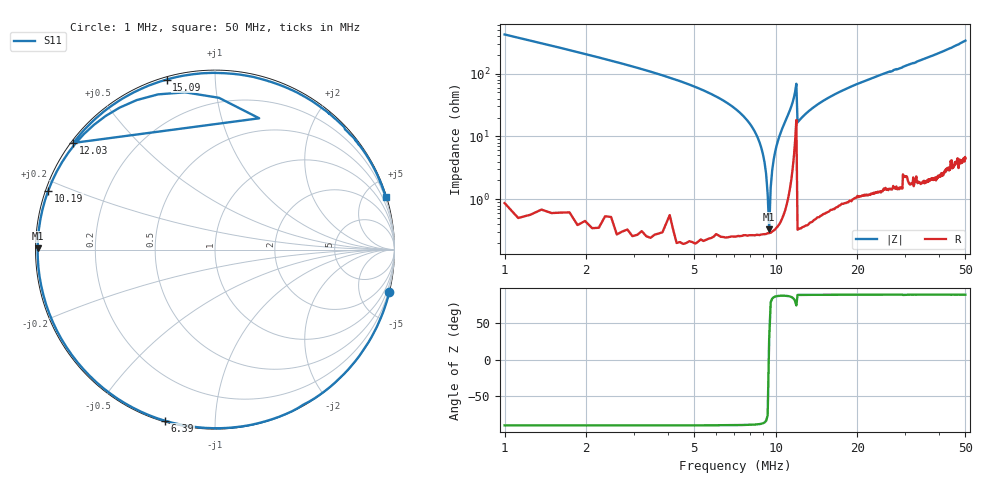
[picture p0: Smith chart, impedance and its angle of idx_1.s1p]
# HZ S RI R 50
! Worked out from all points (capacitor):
!   401 points, 1 MHz to 50 MHz, reference 50 ohm
!   read as one part to ground: C = 376 pF near 1.245 MHz
!   lowest |Z| = 335 mohm at 9.453 MHz (marker M1)
!   series resonance near 9.438 MHz, so ESL is about 760 nH
!   S11 on the Smith chart (normalised r, x): 1 MHz: 0.02, -8.35; 6.39 MHz: 0.01, -0.75; 10.19 MHz: 0.01, +0.17; 12.03 MHz: 0.01, +0.33; 15.09 MHz: 0.01, +0.75; 50 MHz: 0.09, +6.66
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1000000  0.9712 -0.2361
2347500  0.8384 -0.5419
3572500  0.614 -0.7866
4430000  0.393 -0.9167
5165000  0.161 -0.9834
5777500  -0.0545 -0.9934
6390000  -0.2787 -0.9536
7125000  -0.5417 -0.8311
8350000  -0.8801 -0.4531
8962500  -0.9675 -0.2052
9452500  -0.9884 0.00648
1.01875e7  -0.9289 0.3289
1.06775e7  -0.8171 0.54
1.1045e7  -0.675 0.6946
1.14125e7  -0.436 0.833
1.16575e7  -0.1668 0.8763
1.2025e7  -0.7895 0.5943
1.227e7  -0.75 0.643
1.325e7  -0.5805 0.7982
1.50875e7  -0.2698 0.9473
1.717e7  0.0195 0.9842
1.9375e7  0.2481 0.9532
2.21925e7  0.4518 0.8777
2.55e7  0.6098 0.7786
3.1625e7  0.7782 0.6156
3.775e7  0.8684 0.4853
4.3875e7  0.9202 0.3799
5e7  0.9522 0.2924
